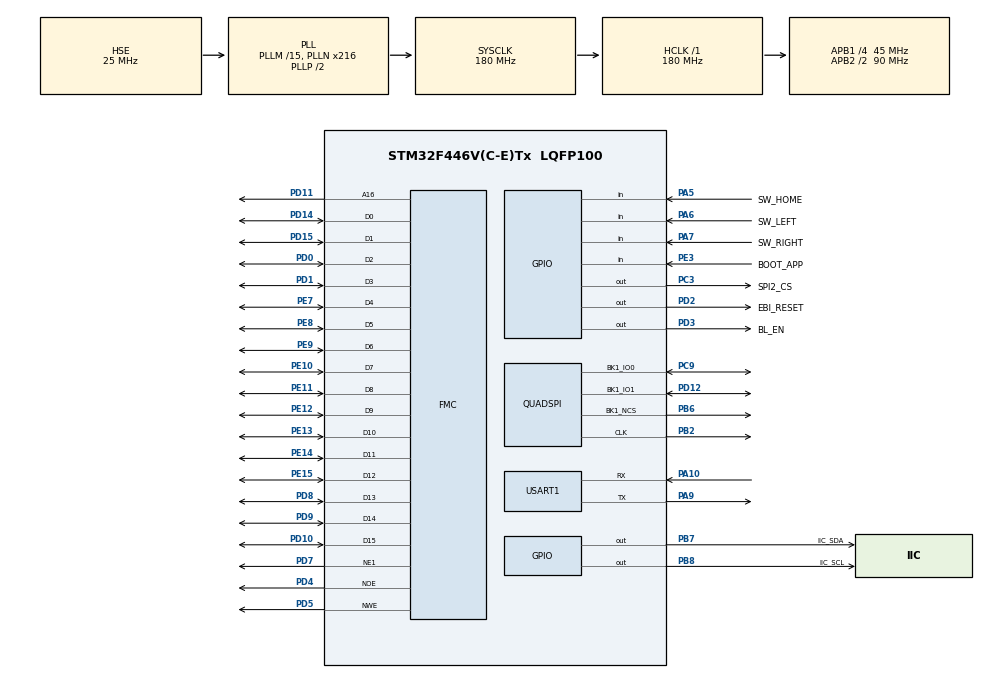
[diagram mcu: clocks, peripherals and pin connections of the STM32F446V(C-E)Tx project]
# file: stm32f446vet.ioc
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Mcu.Family=STM32F4
Mcu.Name=STM32F446V(C-E)Tx
Mcu.Package=LQFP100
NVIC.PriorityGroup=NVIC_PRIORITYGROUP_4
PA10.Mode=Asynchronous
PA10.Signal=USART1_RX
PA5.GPIO_Label=SW_HOME
PA5.GPIO_PuPd=GPIO_NOPULL
PA5.Signal=GPIO_Input
PA6.GPIO_Label=SW_LEFT
PA6.GPIO_PuPd=GPIO_NOPULL
PA6.Signal=GPIO_Input
PA7.GPIO_Label=SW_RIGHT
PA7.GPIO_PuPd=GPIO_NOPULL
PA7.Signal=GPIO_Input
PA9.Mode=Asynchronous
PA9.Signal=USART1_TX
PB2.Mode=Single Bank 1 2IOs
PB2.Signal=QUADSPI_CLK
PB6.Mode=Single Bank 1 2IOs
PB6.Signal=QUADSPI_BK1_NCS
PB7.GPIO_Label=IIC_SDA
PB7.GPIO_PuPd=GPIO_PULLUP
PB7.GPIO_Speed=GPIO_SPEED_FREQ_VERY_HIGH
PB7.Signal=GPIO_Output
PB8.GPIO_Label=IIC_SCL
PB8.GPIO_PuPd=GPIO_PULLUP
PB8.GPIO_Speed=GPIO_SPEED_FREQ_VERY_HIGH
PB8.Signal=GPIO_Output
PC3.GPIO_Label=SPI2_CS
PC3.GPIO_PuPd=GPIO_PULLDOWN
PC3.Signal=GPIO_Output
PC9.Mode=Single Bank 1 2IOs
PC9.Signal=QUADSPI_BK1_IO0
PD0.Mode=16b-d1
PD0.Signal=FMC_D2
PD1.Mode=16b-d1
PD1.Signal=FMC_D3
PD10.Mode=16b-d1
PD10.Signal=FMC_D15
PD11.Mode=A16_1
PD11.Signal=FMC_A16
PD12.Mode=Single Bank 1 2IOs
PD12.Signal=QUADSPI_BK1_IO1
PD14.Mode=16b-d1
PD14.Signal=FMC_D0
PD15.Mode=16b-d1
PD15.Signal=FMC_D1
PD2.GPIO_Label=EBI_RESET
PD2.GPIO_PuPd=GPIO_PULLUP
PD2.Signal=GPIO_Output
PD3.GPIO_Label=BL_EN
PD3.GPIO_PuPd=GPIO_PULLDOWN
PD3.Signal=GPIO_Output
PD4.Mode=Lcd1
PD4.Signal=FMC_NOE
PD5.Mode=Lcd1
PD5.Signal=FMC_NWE
PD7.Mode=NorPsramChipSelect1_1
PD7.Signal=FMC_NE1
PD8.Mode=16b-d1
PD8.Signal=FMC_D13
PD9.Mode=16b-d1
PD9.Signal=FMC_D14
PE10.Mode=16b-d1
PE10.Signal=FMC_D7
PE11.Mode=16b-d1
PE11.Signal=FMC_D8
PE12.Mode=16b-d1
PE12.Signal=FMC_D9
PE13.Mode=16b-d1
PE13.Signal=FMC_D10
PE14.Mode=16b-d1
PE14.Signal=FMC_D11
PE15.Mode=16b-d1
PE15.Signal=FMC_D12
PE3.GPIO_Label=BOOT_APP
PE3.Signal=GPIO_Input
PE7.Mode=16b-d1
PE7.Signal=FMC_D4
PE8.Mode=16b-d1
PE8.Signal=FMC_D5
PE9.Mode=16b-d1
PE9.Signal=FMC_D6
PH0-OSC_IN.Mode=HSE-External-Oscillator
PH0-OSC_IN.Signal=RCC_OSC_IN
PH1-OSC_OUT.Mode=HSE-External-Oscillator
PH1-OSC_OUT.Signal=RCC_OSC_OUT
ProjectManager.HeapSize=0x400
ProjectManager.StackSize=0x400
ProjectManager.TargetToolchain=EWARM
RCC.AHBFreq_Value=180000000
RCC.APB1CLKDivider=RCC_HCLK_DIV4
RCC.APB1Freq_Value=45000000
RCC.APB1TimFreq_Value=90000000
RCC.APB2CLKDivider=RCC_HCLK_DIV2
RCC.APB2Freq_Value=90000000
RCC.APB2TimFreq_Value=180000000
RCC.CortexFreq_Value=180000000
RCC.HCLKFreq_Value=180000000
RCC.PLLM=15
RCC.PLLN=216
RCC.PLLSourceVirtual=RCC_PLLSOURCE_HSE
RCC.SYSCLKFreq_VALUE=180000000
RCC.SYSCLKSource=RCC_SYSCLKSOURCE_PLLCLK
RCC.USBFreq_Value=180000000
RCC.VCOOutputFreq_Value=360000000
TIM3.Period=200
TIM3.Prescaler=9000
TIM4.Period=1000
TIM4.Prescaler=9000
USART1.VirtualMode=VM_ASYNC
VP_CRC_VS_CRC.Mode=CRC_Activate
VP_TIM3_VS_ClockSourceINT.Mode=Internal
VP_TIM4_VS_ClockSourceINT.Mode=Internal
board=stm32f446vet

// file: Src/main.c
/**
  ******************************************************************************
  * File Name          : main.c
  * Description        : Main program body
  ******************************************************************************
  ** This notice applies to any and all portions of this file
  * that are not between comment pairs USER CODE BEGIN and
  * USER CODE END. Other portions of this file, whether
  * inserted by the user or by software development tools
  * are owned by their respective copyright owners.
  *
  * COPYRIGHT(c) 2017 STMicroelectronics
  *
  * Redistribution and use in source and binary forms, with or without modification,
  * are permitted provided that the following conditions are met:
  *   1. Redistributions of source code must retain the above copyright notice,
  *      this list of conditions and the following disclaimer.
  *   2. Redistributions in binary form must reproduce the above copyright notice,
  *      this list of conditions and the following disclaimer in the documentation
  *      and/or other materials provided with the distribution.
  *   3. Neither the name of STMicroelectronics nor the names of its contributors
  *      may be used to endorse or promote products derived from this software
  *      without specific prior written permission.
  *
  * THIS SOFTWARE IS PROVIDED BY THE COPYRIGHT HOLDERS AND CONTRIBUTORS "AS IS"
  * AND ANY EXPRESS OR IMPLIED WARRANTIES, INCLUDING, BUT NOT LIMITED TO, THE
  * IMPLIED WARRANTIES OF MERCHANTABILITY AND FITNESS FOR A PARTICULAR PURPOSE ARE
  * DISCLAIMED. IN NO EVENT SHALL THE COPYRIGHT HOLDER OR CONTRIBUTORS BE LIABLE
  * FOR ANY DIRECT, INDIRECT, INCIDENTAL, SPECIAL, EXEMPLARY, OR CONSEQUENTIAL
  * DAMAGES (INCLUDING, BUT NOT LIMITED TO, PROCUREMENT OF SUBSTITUTE GOODS OR
  * SERVICES; LOSS OF USE, DATA, OR PROFITS; OR BUSINESS INTERRUPTION) HOWEVER
  * CAUSED AND ON ANY THEORY OF LIABILITY, WHETHER IN CONTRACT, STRICT LIABILITY,
  * OR TORT (INCLUDING NEGLIGENCE OR OTHERWISE) ARISING IN ANY WAY OUT OF THE USE
  * OF THIS SOFTWARE, EVEN IF ADVISED OF THE POSSIBILITY OF SUCH DAMAGE.
  *
  ******************************************************************************
  */
#include "main.h"
#include "stm32f4xx_hal.h"

CRC_HandleTypeDef hcrc;

QSPI_HandleTypeDef hqspi;

TIM_HandleTypeDef htim3;
TIM_HandleTypeDef htim4;

UART_HandleTypeDef huart1;

SRAM_HandleTypeDef hsram1;

IWDG_HandleTypeDef IwdgHandle;
TIM_HandleTypeDef  TimInputCaptureHandle;
RCC_ClkInitTypeDef RCC_ClockFreq;
/* USER CODE BEGIN PV */
/* Private variables ---------------------------------------------------------*/
/* USER CODE END PV */

void SystemClock_Config(void);
static void MX_GPIO_Init(void);
static void MX_FMC_Init(void);
static void MX_TIM3_Init(void);
static void MX_USART1_UART_Init(void);
static void MX_QUADSPI_Init(void);
static void MX_CRC_Init(void);
static void MX_TIM4_Init(void);
static void IWDG_Init(void);

/* parameters for LSIfreq capture */
static __IO uint32_t uwLsiFreq = 0;
__IO uint32_t uwCaptureNumber = 0;
__IO uint32_t uwPeriodValue = 0;
__IO uint32_t uwMeasurementDone = 0;

uint16_t tmpCC4[2] = {0, 0};

/* USER CODE BEGIN PFP */
/* Private function prototypes -----------------------------------------------*/

/* USER CODE END PFP */

/* USER CODE BEGIN 0 */
void Start_Tim_IT(void)
{
  if (HAL_TIM_Base_Start_IT(&htim3) != HAL_OK)
  {
    Error_Handler();
  }
  if (HAL_TIM_Base_Start_IT(&htim4) != HAL_OK)
  {
    Error_Handler();
  }
}
/* USER CODE END 0 */

int main(void)
{

  /* USER CODE BEGIN 1 */
  SCB->VTOR = FLASH_BASE | 0x4000;
  /* USER CODE END 1 */

  /* MCU Configuration----------------------------------------------------------*/

  /* Reset of all peripherals, Initializes the Flash interface and the Systick. */
  HAL_Init();

  /* Configure the system clock */
  SystemClock_Config();

  /* Initialize all configured peripherals */
  MX_GPIO_Init();
  MX_FMC_Init();

  MX_USART1_UART_Init();
  MX_QUADSPI_Init();
  MX_CRC_Init();
  MX_TIM3_Init();
  MX_TIM4_Init();

  /* USER CODE BEGIN 2 */
  //read SR to clear TC flag before send the first byte data
  uint8_t clear;
  clear = huart1.Instance->SR;

  GUI_Init();
  HAL_GPIO_WritePin(GPIOD, EBI_RESET_Pin|BL_EN_Pin, GPIO_PIN_SET);
  HAL_Delay(100);
  //if Button_IC_Init fail(return 1), the button_IC is MHS
  //else it is Cypress
  if ( Button_IC_Init() == 1)
  {
    Button_IC_Type = BUTTON_MSH;
  }
  else
  {
	  Button_IC_Type = BUTTON_CYPRESS;
  }
  CY8CMBR3108_DeInit();
  //init IWDG
//  IWDG_count = IWDG_MAX_COUNT;
//  IWDG_Init();

  /* USER CODE END 2 */

  /* Infinite loop */
  /* USER CODE BEGIN WHILE */

  Start_Tim_IT();
  APP_Initialize();

  while (1)
  {
  /* USER CODE END WHILE */

  /* USER CODE BEGIN 3 */
  APP_Tasks();
  }
  /* USER CODE END 3 */

}

/**
  * @brief  Configures TIM5 to measure the LSI oscillator frequency.
  * @param  None
  * @retval LSI Frequency
  */
//static uint32_t GetLSIFrequency(void)
//{
//  uint32_t pclk1 = 0, latency = 0;
//  TIM_IC_InitTypeDef timinputconfig = {0};
//  RCC_OscInitTypeDef oscinit = {0};
//  RCC_ClkInitTypeDef  clkinit =  {0};
//
//  /* Enable LSI Oscillator */
//  oscinit.OscillatorType = RCC_OSCILLATORTYPE_LSI;
//  oscinit.LSIState = RCC_LSI_ON;
//  oscinit.PLL.PLLState = RCC_PLL_NONE;
//  if (HAL_RCC_OscConfig(&oscinit)!= HAL_OK)
//  {
//    Error_Handler();
//  }
//
//  /* Configure the TIM peripheral */
//  /* Set TIMx instance */
//  TimInputCaptureHandle.Instance = TIM5;
//
//  /* TIMx configuration: Input Capture mode ---------------------
//  The LSI clock is connected to TIM5 CH4.
//  The Rising edge is used as active edge.
//  The TIM5 CCR4 is used to compute the frequency value.
//  ------------------------------------------------------------ */
//  TimInputCaptureHandle.Init.Prescaler         = 0;
//  TimInputCaptureHandle.Init.CounterMode       = TIM_COUNTERMODE_UP;
//  TimInputCaptureHandle.Init.Period            = 0xFFFF;
//  TimInputCaptureHandle.Init.ClockDivision     = 0;
//  TimInputCaptureHandle.Init.RepetitionCounter = 0;
//
//  if (HAL_TIM_IC_Init(&TimInputCaptureHandle) != HAL_OK)
//  {
//    /* Initialization Error */
//    Error_Handler();
//  }
//  /* Connect internally the  TIM5 CH4 Input Capture to the LSI clock output */
//  HAL_TIMEx_RemapConfig(&TimInputCaptureHandle, TIM_TIM5_LSI);
//
//  /* Configure the Input Capture of channel 4 */
//  timinputconfig.ICPolarity  = TIM_ICPOLARITY_RISING;
//  timinputconfig.ICSelection = TIM_ICSELECTION_DIRECTTI;
//  timinputconfig.ICPrescaler = TIM_ICPSC_DIV8;
//  timinputconfig.ICFilter    = 0;
//
//  if (HAL_TIM_IC_ConfigChannel(&TimInputCaptureHandle, &timinputconfig, TIM_CHANNEL_4) != HAL_OK)
//  {
//    /* Initialization Error */
//    Error_Handler();
//  }
//
//  /* Reset the flags */
//  TimInputCaptureHandle.Instance->SR = 0;
//
//  /* Start the TIM Input Capture measurement in interrupt mode */
//  if (HAL_TIM_IC_Start_IT(&TimInputCaptureHandle, TIM_CHANNEL_4) != HAL_OK)
//  {
//    /* Starting Error */
//    Error_Handler();
//  }
//
//  /* Wait until the TIM5 get 2 LSI edges (refer to TIM5_IRQHandler() in
//  stm32f4xx_it.c file) */
//  while (uwMeasurementDone == 0)
//  {
//  }
//  uwCaptureNumber = 0;
//
//  /* Deinitialize the TIM5 peripheral registers to their default reset values */
//  HAL_TIM_IC_DeInit(&TimInputCaptureHandle);
//
//  /* Compute the LSI frequency, depending on TIM5 input clock frequency (PCLK1)*/
//  /* Get PCLK1 frequency */
//  pclk1 = HAL_RCC_GetPCLK1Freq();
//  HAL_RCC_GetClockConfig(&clkinit, &latency);
//
//  /* Get PCLK1 prescaler */
//  if ((clkinit.APB1CLKDivider) == RCC_HCLK_DIV1)
//  {
//    /* PCLK1 prescaler equal to 1 => TIMCLK = PCLK1 */
//    return ((pclk1 / uwPeriodValue) * 8);
//  }
//  else
//  {
//    /* PCLK1 prescaler different from 1 => TIMCLK = 2 * PCLK1 */
//    return (((2 * pclk1) / uwPeriodValue) * 8) ;
//  }
//}

/**
  * @brief  Input Capture callback in non blocking mode
  * @param  htim : TIM IC handle
  * @retval None
  */
//void HAL_TIM_IC_CaptureCallback(TIM_HandleTypeDef *htim)
//{
//  /* Get the Input Capture value */
//  tmpCC4[uwCaptureNumber++] = HAL_TIM_ReadCapturedValue(htim, TIM_CHANNEL_4);
//
//  if (uwCaptureNumber >= 2)
//  {
//    /* Compute the period length */
//    uwPeriodValue = (uint16_t)(0xFFFF - tmpCC4[0] + tmpCC4[1] + 1);
//    uwMeasurementDone = 1;
//    uwCaptureNumber = 0;
//  }
//}

/** System Clock Configuration
*/
void SystemClock_Config(void)
{

  RCC_OscInitTypeDef RCC_OscInitStruct;
  RCC_ClkInitTypeDef RCC_ClkInitStruct;

    /**Configure the main internal regulator output voltage
    */
  __HAL_RCC_PWR_CLK_ENABLE();

  __HAL_PWR_VOLTAGESCALING_CONFIG(PWR_REGULATOR_VOLTAGE_SCALE1);

    /**Initializes the CPU, AHB and APB busses clocks
    */
  RCC_OscInitStruct.OscillatorType = RCC_OSCILLATORTYPE_HSE;
  RCC_OscInitStruct.HSEState = RCC_HSE_ON;
  RCC_OscInitStruct.PLL.PLLState = RCC_PLL_ON;
  RCC_OscInitStruct.PLL.PLLSource = RCC_PLLSOURCE_HSE;
  RCC_OscInitStruct.PLL.PLLM = 15;
  RCC_OscInitStruct.PLL.PLLN = 216;
  RCC_OscInitStruct.PLL.PLLP = RCC_PLLP_DIV2;
  RCC_OscInitStruct.PLL.PLLQ = 2;
  RCC_OscInitStruct.PLL.PLLR = 2;
  if (HAL_RCC_OscConfig(&RCC_OscInitStruct) != HAL_OK)
  {
    _Error_Handler(__FILE__, __LINE__);
  }

    /**Activate the Over-Drive mode
    */
  if (HAL_PWREx_EnableOverDrive() != HAL_OK)
  {
    _Error_Handler(__FILE__, __LINE__);
  }

    /**Initializes the CPU, AHB and APB busses clocks
    */
  RCC_ClkInitStruct.ClockType = RCC_CLOCKTYPE_HCLK|RCC_CLOCKTYPE_SYSCLK
                              |RCC_CLOCKTYPE_PCLK1|RCC_CLOCKTYPE_PCLK2;
  RCC_ClkInitStruct.SYSCLKSource = RCC_SYSCLKSOURCE_PLLCLK;
  RCC_ClkInitStruct.AHBCLKDivider = RCC_SYSCLK_DIV1;
  RCC_ClkInitStruct.APB1CLKDivider = RCC_HCLK_DIV4;
  RCC_ClkInitStruct.APB2CLKDivider = RCC_HCLK_DIV2;

  if (HAL_RCC_ClockConfig(&RCC_ClkInitStruct, FLASH_LATENCY_5) != HAL_OK)
  {
    _Error_Handler(__FILE__, __LINE__);
  }

    /**Configure the Systick interrupt time
    */
  HAL_SYSTICK_Config(HAL_RCC_GetHCLKFreq()/1000);

    /**Configure the Systick
    */
  HAL_SYSTICK_CLKSourceConfig(SYSTICK_CLKSOURCE_HCLK);

  /* SysTick_IRQn interrupt configuration */
  HAL_NVIC_SetPriority(SysTick_IRQn, 0, 0);
}

/* CRC init function */
static void MX_CRC_Init(void)
{

  hcrc.Instance = CRC;
  if (HAL_CRC_Init(&hcrc) != HAL_OK)
  {
    _Error_Handler(__FILE__, __LINE__);
  }

}

/* QUADSPI init function */
static void MX_QUADSPI_Init(void)
{

  hqspi.Instance = QUADSPI;
  hqspi.Init.ClockPrescaler = 255;
  hqspi.Init.FifoThreshold = 1;
  hqspi.Init.SampleShifting = QSPI_SAMPLE_SHIFTING_NONE;
  hqspi.Init.FlashSize = 1;
  hqspi.Init.ChipSelectHighTime = QSPI_CS_HIGH_TIME_1_CYCLE;
  hqspi.Init.ClockMode = QSPI_CLOCK_MODE_0;
  hqspi.Init.FlashID = QSPI_FLASH_ID_1;
  hqspi.Init.DualFlash = QSPI_DUALFLASH_DISABLE;
  if (HAL_QSPI_Init(&hqspi) != HAL_OK)
  {
    _Error_Handler(__FILE__, __LINE__);
  }

}

/* TIM3 init function */
static void MX_TIM3_Init(void)
{

  TIM_ClockConfigTypeDef sClockSourceConfig;
  TIM_MasterConfigTypeDef sMasterConfig;

  htim3.Instance = TIM3;
  htim3.Init.Prescaler = 9000;
  htim3.Init.CounterMode = TIM_COUNTERMODE_UP;
  htim3.Init.Period = 200;
  htim3.Init.ClockDivision = TIM_CLOCKDIVISION_DIV1;
  if (HAL_TIM_Base_Init(&htim3) != HAL_OK)
  {
    _Error_Handler(__FILE__, __LINE__);
  }

  sClockSourceConfig.ClockSource = TIM_CLOCKSOURCE_INTERNAL;
  if (HAL_TIM_ConfigClockSource(&htim3, &sClockSourceConfig) != HAL_OK)
  {
    _Error_Handler(__FILE__, __LINE__);
  }

  sMasterConfig.MasterOutputTrigger = TIM_TRGO_RESET;
  sMasterConfig.MasterSlaveMode = TIM_MASTERSLAVEMODE_DISABLE;
  if (HAL_TIMEx_MasterConfigSynchronization(&htim3, &sMasterConfig) != HAL_OK)
  {
    _Error_Handler(__FILE__, __LINE__);
  }

}

/* TIM4 init function */
static void MX_TIM4_Init(void)
{

  TIM_ClockConfigTypeDef sClockSourceConfig;
  TIM_MasterConfigTypeDef sMasterConfig;

  htim4.Instance = TIM4;
  htim4.Init.Prescaler = 9000;
  htim4.Init.CounterMode = TIM_COUNTERMODE_UP;
  htim4.Init.Period = 400;
  htim4.Init.ClockDivision = TIM_CLOCKDIVISION_DIV1;
  if (HAL_TIM_Base_Init(&htim4) != HAL_OK)
  {
    _Error_Handler(__FILE__, __LINE__);
  }

  sClockSourceConfig.ClockSource = TIM_CLOCKSOURCE_INTERNAL;
  if (HAL_TIM_ConfigClockSource(&htim4, &sClockSourceConfig) != HAL_OK)
  {
    _Error_Handler(__FILE__, __LINE__);
  }

  sMasterConfig.MasterOutputTrigger = TIM_TRGO_RESET;
  sMasterConfig.MasterSlaveMode = TIM_MASTERSLAVEMODE_DISABLE;
  if (HAL_TIMEx_MasterConfigSynchronization(&htim4, &sMasterConfig) != HAL_OK)
  {
    _Error_Handler(__FILE__, __LINE__);
  }

}

/* USART1 init function */
static void MX_USART1_UART_Init(void)
{

  huart1.Instance = USART1;
  huart1.Init.BaudRate = 115200;
  huart1.Init.WordLength = UART_WORDLENGTH_8B;
  huart1.Init.StopBits = UART_STOPBITS_1;
  huart1.Init.Parity = UART_PARITY_NONE;
  huart1.Init.Mode = UART_MODE_TX_RX;
  huart1.Init.HwFlowCtl = UART_HWCONTROL_NONE;
  huart1.Init.OverSampling = UART_OVERSAMPLING_16;
  if (HAL_UART_Init(&huart1) != HAL_OK)
  {
    _Error_Handler(__FILE__, __LINE__);
  }

}
/* FMC initialization function */
static void MX_FMC_Init(void)
{
  FMC_NORSRAM_TimingTypeDef Timing;

  /** Perform the SRAM1 memory initialization sequence
  */
  hsram1.Instance = FMC_NORSRAM_DEVICE;
  hsram1.Extended = FMC_NORSRAM_EXTENDED_DEVICE;
  /* hsram1.Init */
  hsram1.Init.NSBank = FMC_NORSRAM_BANK1;
  hsram1.Init.DataAddressMux = FMC_DATA_ADDRESS_MUX_DISABLE;
  hsram1.Init.MemoryType = FMC_MEMORY_TYPE_SRAM;
  hsram1.Init.MemoryDataWidth = FMC_NORSRAM_MEM_BUS_WIDTH_16;
  hsram1.Init.BurstAccessMode = FMC_BURST_ACCESS_MODE_DISABLE;
  hsram1.Init.WaitSignalPolarity = FMC_WAIT_SIGNAL_POLARITY_LOW;
  hsram1.Init.WaitSignalActive = FMC_WAIT_TIMING_BEFORE_WS;
  hsram1.Init.WriteOperation = FMC_WRITE_OPERATION_ENABLE;
  hsram1.Init.WaitSignal = FMC_WAIT_SIGNAL_DISABLE;
  hsram1.Init.ExtendedMode = FMC_EXTENDED_MODE_DISABLE;
  hsram1.Init.AsynchronousWait = FMC_ASYNCHRONOUS_WAIT_DISABLE;
  hsram1.Init.WriteBurst = FMC_WRITE_BURST_DISABLE;
  hsram1.Init.ContinuousClock = FMC_CONTINUOUS_CLOCK_SYNC_ONLY;
  hsram1.Init.WriteFifo = FMC_WRITE_FIFO_ENABLE;
  hsram1.Init.PageSize = FMC_PAGE_SIZE_NONE;
  /* Timing */
  Timing.AddressSetupTime = 15;
  Timing.AddressHoldTime = 15;
  Timing.DataSetupTime = 30;
  Timing.BusTurnAroundDuration = 15;
  Timing.CLKDivision = 16;
  Timing.DataLatency = 17;
  Timing.AccessMode = FMC_ACCESS_MODE_A;
  /* ExtTiming */

  if (HAL_SRAM_Init(&hsram1, &Timing, NULL) != HAL_OK)
  {
    _Error_Handler(__FILE__, __LINE__);
  }

}

/** Configure pins as
        * Analog
        * Input
        * Output
        * EVENT_OUT
        * EXTI
*/
static void MX_GPIO_Init(void)
{

  GPIO_InitTypeDef GPIO_InitStruct;

  /* GPIO Ports Clock Enable */
  __HAL_RCC_GPIOE_CLK_ENABLE();
  __HAL_RCC_GPIOH_CLK_ENABLE();
  __HAL_RCC_GPIOC_CLK_ENABLE();
  __HAL_RCC_GPIOA_CLK_ENABLE();
  __HAL_RCC_GPIOB_CLK_ENABLE();
  __HAL_RCC_GPIOD_CLK_ENABLE();

  /*Configure GPIO pin Output Level */
  HAL_GPIO_WritePin(SPI2_CS_GPIO_Port, SPI2_CS_Pin, GPIO_PIN_RESET);

  /*Configure GPIO pin Output Level */
  HAL_GPIO_WritePin(GPIOD, EBI_RESET_Pin|BL_EN_Pin, GPIO_PIN_RESET);

  /*Configure GPIO pin Output Level */
  HAL_GPIO_WritePin(GPIOB, IIC_SDA_Pin|IIC_SCL_Pin, GPIO_PIN_RESET);

  /*Configure GPIO pin : BOOT_APP_Pin */
  GPIO_InitStruct.Pin = BOOT_APP_Pin;
  GPIO_InitStruct.Mode = GPIO_MODE_INPUT;
  GPIO_InitStruct.Pull = GPIO_NOPULL;
  HAL_GPIO_Init(BOOT_APP_GPIO_Port, &GPIO_InitStruct);

  /*Configure GPIO pin : SPI2_CS_Pin */
  GPIO_InitStruct.Pin = SPI2_CS_Pin;
  GPIO_InitStruct.Mode = GPIO_MODE_OUTPUT_PP;
  GPIO_InitStruct.Pull = GPIO_PULLDOWN;
  GPIO_InitStruct.Speed = GPIO_SPEED_FREQ_LOW;
  HAL_GPIO_Init(SPI2_CS_GPIO_Port, &GPIO_InitStruct);

  /*Configure GPIO pins : SW_HOME_Pin SW_LEFT_Pin SW_RIGHT_Pin */
  GPIO_InitStruct.Pin = SW_HOME_Pin|SW_LEFT_Pin|SW_RIGHT_Pin;
  GPIO_InitStruct.Mode = GPIO_MODE_INPUT;
  GPIO_InitStruct.Pull = GPIO_NOPULL;
  HAL_GPIO_Init(GPIOA, &GPIO_InitStruct);

  /*Configure GPIO pin : EBI_RESET_Pin */
  GPIO_InitStruct.Pin = EBI_RESET_Pin;
  GPIO_InitStruct.Mode = GPIO_MODE_OUTPUT_PP;
  GPIO_InitStruct.Pull = GPIO_PULLUP;
  GPIO_InitStruct.Speed = GPIO_SPEED_FREQ_LOW;
  HAL_GPIO_Init(EBI_RESET_GPIO_Port, &GPIO_InitStruct);

  /*Configure GPIO pin : BL_EN_Pin */
  GPIO_InitStruct.Pin = BL_EN_Pin;
  GPIO_InitStruct.Mode = GPIO_MODE_OUTPUT_PP;
  GPIO_InitStruct.Pull = GPIO_PULLDOWN;
  GPIO_InitStruct.Speed = GPIO_SPEED_FREQ_LOW;
  HAL_GPIO_Init(BL_EN_GPIO_Port, &GPIO_InitStruct);

  /*Configure GPIO pins : IIC_SDA_Pin IIC_SCL_Pin */
  GPIO_InitStruct.Pin = IIC_SDA_Pin|IIC_SCL_Pin;
  GPIO_InitStruct.Mode = GPIO_MODE_OUTPUT_PP;
  GPIO_InitStruct.Pull = GPIO_PULLUP;
  GPIO_InitStruct.Speed = GPIO_SPEED_FREQ_VERY_HIGH;
  HAL_GPIO_Init(GPIOB, &GPIO_InitStruct);

}

/* USER CODE BEGIN 4 */
void UART_SendData(uint8_t data)
{
  huart1.Instance->DR = data;
  while (((huart1.Instance->SR) & USART_SR_TC) == RESET);
}

void UART_ITConfig(uint32_t IT_Flag, uint8_t action)
{
//  uint8_t Clear = 0;
  if (action == 1)
  {
    SET_BIT(huart1.Instance->CR1, IT_Flag);
    //clear IDLE flag
    //while (READ_BIT(huart1.Instance->CR1, IT_Flag) == RESET);
    //SET_BIT(huart1.Instance->CR3, USART_CR3_EIE);
  }
  else if (action == 0)
  {
    CLEAR_BIT(huart1.Instance->CR1, IT_Flag);
    //clear IDLE flag
     //while (READ_BIT(huart1.Instance->CR1, IT_Flag) != RESET);
  }
}
//
//void IWDG_Init(void)
//{
//  /*##-1- Check if the system has resumed from IWDG reset ####################*/
//  if (__HAL_RCC_GET_FLAG(RCC_FLAG_IWDGRST) != RESET)
//  {
//    /* if resumed from IWDG, set flag to tell app start from home page */
//    IWDG_resumed_state = 1;
//
//    /* Clear reset flags */
//    __HAL_RCC_CLEAR_RESET_FLAGS();
//  }
//  else
//  {
//    IWDG_resumed_state = 0;
//  }
//
//  /*##-2- Get the LSI frequency: TIM5 is used to measure the LSI frequency ###*/
//  uwLsiFreq = GetLSIFrequency();
//
//  /*##-3- Configure the IWDG peripheral ######################################*/
//  /* Set counter reload value to obtain 4000ms IWDG TimeOut.
//     IWDG counter clock Frequency = LsiFreq / 32
//     Counter Reload Value = 2000ms / IWDG counter clock period
//                          = 2s / (32/LsiFreq)
//                          = LsiFreq / (32 / 2)
//                          = LsiFreq / 16 */
//  IwdgHandle.Instance = IWDG;
//
//  IwdgHandle.Init.Prescaler = IWDG_PRESCALER_32;
//  IwdgHandle.Init.Reload    = uwLsiFreq / 16;
//
//  if (HAL_IWDG_Init(&IwdgHandle) != HAL_OK)
//  {
//    /* Initialization Error */
//    Error_Handler();
//  }
//
//  /*##-4- Start the IWDG #####################################################*/
//  if (HAL_IWDG_Start(&IwdgHandle) != HAL_OK)
//  {
//    Error_Handler();
//  }
//}
/* USER CODE END 4 */

void _Error_Handler(char * file, int line)
{
  while(1)
  {
  }
}

/************************ (C) COPYRIGHT STMicroelectronics *****END OF FILE****/
